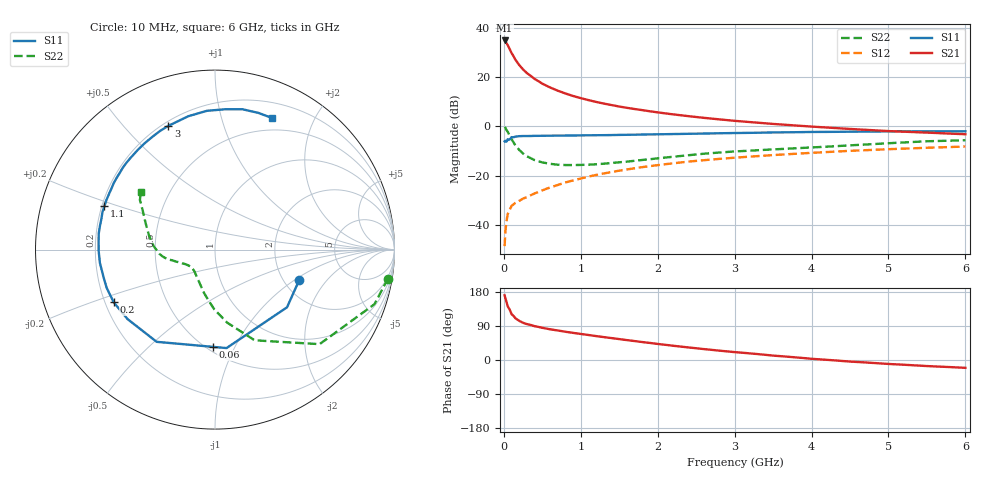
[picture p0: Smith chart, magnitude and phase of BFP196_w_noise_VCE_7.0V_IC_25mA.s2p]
! Infineon Technologies  Discrete & RF Semiconductors
! BFP196
! VCE =  7.0 V,  IC =  25 mA
! Common Emitter S-Parameters:  Jan 2017
# GHz  S  MA  R  50
!  f  S11  S21  S12  S22
! GHz  MAG  ANG  MAG  ANG  MAG  ANG  MAG  ANG
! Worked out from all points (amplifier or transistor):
!   77 points, 10 MHz to 6 GHz, reference 50 ohm
!   highest |S21| = 35.0 dB at 10 MHz (marker M1)
!   |S21| within 3 dB of that: start of sweep to 67.89 MHz
!   unconditionally stable (mu >= 1): 743.6 MHz to 2.389 GHz
!   at 130 MHz: K = 0.42, MSG = 29.9 dB, |S12| = -31.5 dB
!   at 2.2 GHz: K = 1.01, MAG = 9.2 dB, |S12| = -15.0 dB
!   at 6 GHz: K = 0.92, MSG = 2.5 dB, |S12| = -8.1 dB
!   lowest NFmin = 1.15 dB at 450 MHz
!   S11 on the Smith chart (normalised r, x): 10 MHz: 2.41, -1.10; 60 MHz: 0.54, -0.82; 200 MHz: 0.23, -0.23; 1.1 GHz: 0.21, +0.18; 3 GHz: 0.22, +0.67; 6 GHz: 0.36, +1.46
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0.01  0.4988 -20.1  56.03 170.9  0.0037 84.0  0.9769 -9.5
0.02  0.5142 -38.7  54.76 162.6  0.0074 77.7  0.9391 -18.9
0.05  0.5524 -83.3  45.17 141.5  0.0165 60.1  0.7855 -42.1
0.06  0.5419 -91.4  42.04 138.5  0.018 57.2  0.7303 -45.7
0.1  0.608 -122.3  31.23 121.0  0.0242 49.4  0.5515 -66.4
0.15  0.6223 -141.5  22.79 110.1  0.0281 45.8  0.4126 -80.5
0.2  0.6362 -152.5  17.74 103.3  0.0308 48.2  0.3337 -90.6
0.25  0.64 -160.4  14.44 98.2  0.0343 48.8  0.2819 -97.9
0.3  0.6397 -165.7  12.16 94.8  0.0367 50.3  0.2478 -104.5
0.4  0.6455 -173.4  9.245 89.2  0.0436 53.5  0.2075 -114.0
0.5  0.6482 -179.3  7.428 84.9  0.0503 56.4  0.1864 -121.9
0.6  0.6499 176.0  6.227 81.1  0.0577 57.8  0.1745 -128.2
0.7  0.654 172.2  5.347 77.9  0.0646 59.5  0.1672 -133.1
0.9  0.6557 164.9  4.169 71.6  0.0802 60.2  0.1647 -140.6
1.1  0.6622 158.5  3.437 66.0  0.0959 60.1  0.1676 -146.0
1.5  0.6747 146.8  2.546 55.2  0.1267 57.3  0.1873 -154.8
2.1  0.6976 130.4  1.848 40.1  0.1713 51.4  0.2339 -164.1
3  0.737 110.6  1.304 20.8  0.2323 40.9  0.3112 -175.8
3.1  0.7396 108.7  1.266 19.2  0.2382 39.7  0.317 -177.4
4.1  0.7754 91.8  0.974 1.8  0.2969 28.3  0.3822 166.2
5.1  0.7964 77.7  0.795 -11.5  0.3503 16.7  0.4656 150.6
6  0.7991 66.5  0.696 -20.7  0.3919 6.5  0.5253 142.0
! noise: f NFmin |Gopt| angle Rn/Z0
0.45  1.15  0.34  164  0.05
0.9  1.34  0.45  -176  0.06
1.9  2.21  0.68  -136  0.24
2.4  2.64  0.71  -122  0.59
